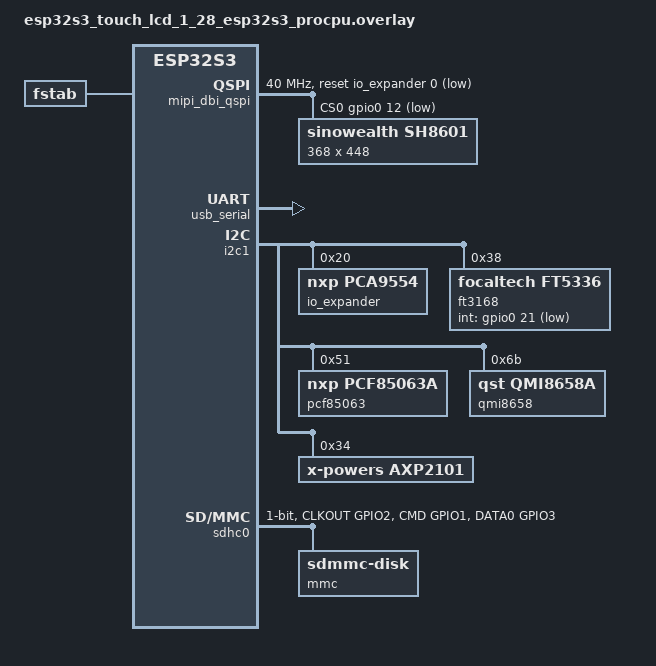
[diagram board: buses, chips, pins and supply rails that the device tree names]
/ {
	chosen {
		zephyr,console = &usb_serial;
		zephyr,shell-uart = &usb_serial;
		zephyr,touch = &ft3168;
		zephyr,display = &sh8601;
	};

	mipi_dbi_qspi: mipi-dbi-qspi@60024000 {
		compatible = "mipi-dbi-esp32-qspi";
		reg = <0x60024000 DT_SIZE_K(4)>;
		clocks = <&clock ESP32_SPI2_MODULE>;
		spi-host = <1>;
		sclk-pin = <11>;
		sio-pins = <4 5 6 7>;
		cs-gpios = <&gpio0 12 GPIO_ACTIVE_LOW>;
		reset-gpios = <&io_expander 0 GPIO_ACTIVE_LOW>,
			      <&io_expander 1 GPIO_ACTIVE_LOW>,
			      <&io_expander 2 GPIO_ACTIVE_LOW>;
		clock-frequency = <40000000>;
		#address-cells = <1>;
		#size-cells = <0>;

		sh8601: sh8601@0 {
			compatible = "sinowealth,sh8601";
			reg = <0>;
			pixel-format = <PANEL_PIXEL_FORMAT_RGB_565>;
			width = <368>;
			height = <448>;
		};
	};

	fstab {
		compatible = "zephyr,fstab";
		sd: sd {
			compatible = "zephyr,fstab,fatfs";
			mount-point = "/SD:";
			disk-access;
			automount;
		};
	};

	pwmleds {
		status = "disabled";
	};

	mipi_dbi {
		status = "disabled";
	};
};

&usb_serial {
	status = "okay";
};

&psram0 {
	size = <DT_SIZE_M(8)>;
};

&ledc0 {
	status = "disabled";
};

&spi2 {
	status = "disabled";
};

&gc9a01 {
	status = "disabled";
};

&cst816s {
	status = "disabled";
};

&pinctrl {
	i2c1_amoled: i2c1_amoled {
		group1 {
			pinmux = <I2C1_SDA_GPIO15>, <I2C1_SCL_GPIO14>;
			bias-pull-up;
			drive-open-drain;
			output-high;
		};
	};

	sdhc0_amoled: sdhc0_amoled {
		group1 {
			pinmux = <SDHC0_CLKOUT_GPIO2>,
				 <SDHC0_CMD_GPIO1>,
				 <SDHC0_DATA0_GPIO3>;
			bias-pull-up;
			output-high;
		};
	};
};

&i2c1 {
	pinctrl-0 = <&i2c1_amoled>;

	io_expander: tca9554@20 {
		compatible = "nxp,pca9554";
		reg = <0x20>;
		gpio-controller;
		#gpio-cells = <2>;
		ngpios = <8>;
		no-auto-reset;

		panel_power_hog {
			gpio-hog;
			gpios = <1 GPIO_ACTIVE_HIGH>, <2 GPIO_ACTIVE_HIGH>,
				<7 GPIO_ACTIVE_HIGH>;
			output-high;
		};
	};

	ft3168: ft3168@38 {
		compatible = "focaltech,ft5336";
		reg = <0x38>;
		int-gpios = <&gpio0 21 GPIO_ACTIVE_LOW>;
		swapped-x-y;
	};

	pcf85063: pcf85063a@51 {
		compatible = "nxp,pcf85063a";
		reg = <0x51>;
	};

	qmi8658: qmi8658a@6b {
		compatible = "qst,qmi8658a";
		reg = <0x6b>;
	};

	axp2101: axp2101@34 {
		compatible = "x-powers,axp2101";
		reg = <0x34>;

		fuel_gauge {
			compatible = "x-powers,axp2101-fuel-gauge";
		};
	};
};

&sdhc0 {
	status = "okay";
	pinctrl-0 = <&sdhc0_amoled>;
	pinctrl-names = "default";
	max-bus-freq = <DT_FREQ_M(25)>;
	bus-width = <1>;

	mmc {
		compatible = "zephyr,sdmmc-disk";
		disk-name = "SD";
		status = "okay";
	};
};
